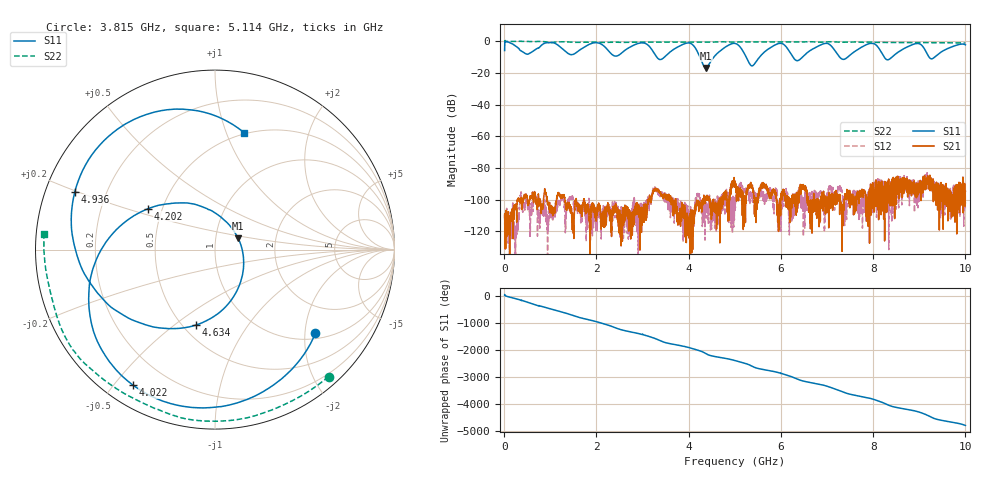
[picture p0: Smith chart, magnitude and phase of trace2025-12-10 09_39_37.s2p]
!url:https://github.com/lafefspietz/vna-control
!switchstate:s
!power:HIGH
!datetime:2025-12-10 09:39:37
!ifbw:100
! Created with skrf 1.9.0 (http://scikit-rf.org).
# Hz S RI R 50.0
!freq ReS11 ImS11 ReS21 ImS21 ReS12 ImS12 ReS22 ImS22
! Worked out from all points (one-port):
!   4000 points, 10 MHz to 10 GHz, reference 50 ohm
!   lowest |S11| = -16.9 dB at 4.369 GHz (marker M1), VSWR 1.34, Z = 64.2 + j8.35 ohm
!   |S11| at or under -10 dB: 4.246 GHz to 4.545 GHz (299.4 MHz wide, 6.81 % of centre); 5.249 GHz to 5.536 GHz (286.7 MHz wide, 5.32 % of centre); 6.263 GHz to 6.466 GHz (202.9 MHz wide, 3.19 % of centre)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
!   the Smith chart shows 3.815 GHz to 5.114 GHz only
!   S11 on the Smith chart (normalised r, x): 3.815 GHz: 1.14, -2.27; 4.022 GHz: 0.08, -0.56; 4.202 GHz: 0.42, +0.24; 4.634 GHz: 0.58, -0.60; 4.936 GHz: 0.09, +0.20; 5.114 GHz: 0.49, +1.16
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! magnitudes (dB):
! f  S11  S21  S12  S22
! 10 MHz  -5.8  -111.3  -109.5  0.0
! 1.676 GHz  -4.7  -104.6  -108.4  -0.5
! 3.013 GHz  -1.0  -110.6  -111.8  -0.5
! 3.34 GHz  -10.9  -94.4  -95.9  -0.5
! 3.815 GHz  -2.8  -115.0  -102.5  -0.5
! 4.022 GHz  -1.1  -118.7  -118.5  -0.5
! 4.202 GHz  -7.2  -103.5  -96.9  -0.4
! 4.369 GHz  -16.9  -100.7  -105.4  -0.4
! 4.634 GHz  -7.2  -105.5  -116.6  -0.4
! 4.936 GHz  -1.5  -90.8  -104.9  -0.5
! 5.006 GHz  -1.3  -91.9  -98.5  -0.4
! 5.114 GHz  -3.5  -95.3  -91.5  -0.4
! 5.373 GHz  -15.5  -92.0  -96.8  -0.3
! 5.941 GHz  -1.5  -111.9  -112.6  -0.4
! 6.345 GHz  -12.2  -98.9  -100.2  -0.4
! 6.67 GHz  -5.2  -106.7  -100.4  -0.3
! 7.012 GHz  -1.4  -107.8  -97.1  -0.3
! 7.364 GHz  -11.4  -101.9  -99.0  -0.5
! 7.984 GHz  -1.3  -93.8  -92.9  -0.4
! 8.336 GHz  -11.5  -87.0  -97.6  -0.7
! 8.918 GHz  -1.5  -91.4  -97.2  -0.8
! 10 GHz  -2.2  -94.7  -102.6  -1.0
